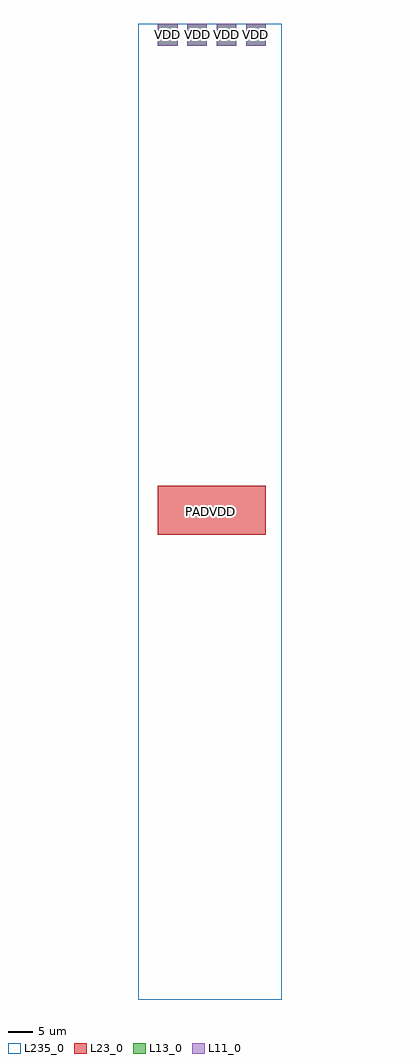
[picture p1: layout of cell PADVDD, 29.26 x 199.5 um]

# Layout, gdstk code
import gdstk
lib = gdstk.Library(unit=1e-6, precision=5e-10)
def R(c, l, rs):  # rectangles x0, y0, x1, y1
    for r in rs: c.add(gdstk.rectangle(r[:2], r[2:], *l))
def A(c, l, x, y, w, h, nx, ny, dx, dy):  # array of equal rectangles
    R(c, l, [(x+i*dx, y+j*dy, x+i*dx+w, y+j*dy+h) for i in range(nx) for j in range(ny)])
L11_0 = (11, 0)
L13_0 = (13, 0)
L23_0 = (23, 0)
L235_0 = (235, 0)

padvdd = lib.new_cell('PADVDD')
A(padvdd, L11_0, 4, 195, 4, 4.5, 4, 1, 6, 0)
A(padvdd, L13_0, 4, 195, 4, 4.5, 4, 1, 6, 0)
R(padvdd, L23_0, [(4,95,26,105)])
R(padvdd, L235_0, [(0,0,29.26,199.5)])
padvdd.add(gdstk.Label('PADVDD', (14.63,99.75), layer=108, texttype=3))
padvdd.add(gdstk.Label('VDD', (24,197.25), layer=13, texttype=0))
padvdd.add(gdstk.Label('VDD', (18,197.25), layer=13, texttype=0))
padvdd.add(gdstk.Label('VDD', (12,197.25), layer=13, texttype=0))
padvdd.add(gdstk.Label('VDD', (6,197.25), layer=13, texttype=0))
padvdd.add(gdstk.Label('VDD', (24,197.25), layer=11, texttype=0))
padvdd.add(gdstk.Label('VDD', (18,197.25), layer=11, texttype=0))
padvdd.add(gdstk.Label('VDD', (12,197.25), layer=11, texttype=0))
padvdd.add(gdstk.Label('VDD', (6,197.25), layer=11, texttype=0))
padvdd.add(gdstk.Label('VDD', (15,100), layer=23, texttype=0))

lib.write_gds('PADVDD.gds')
